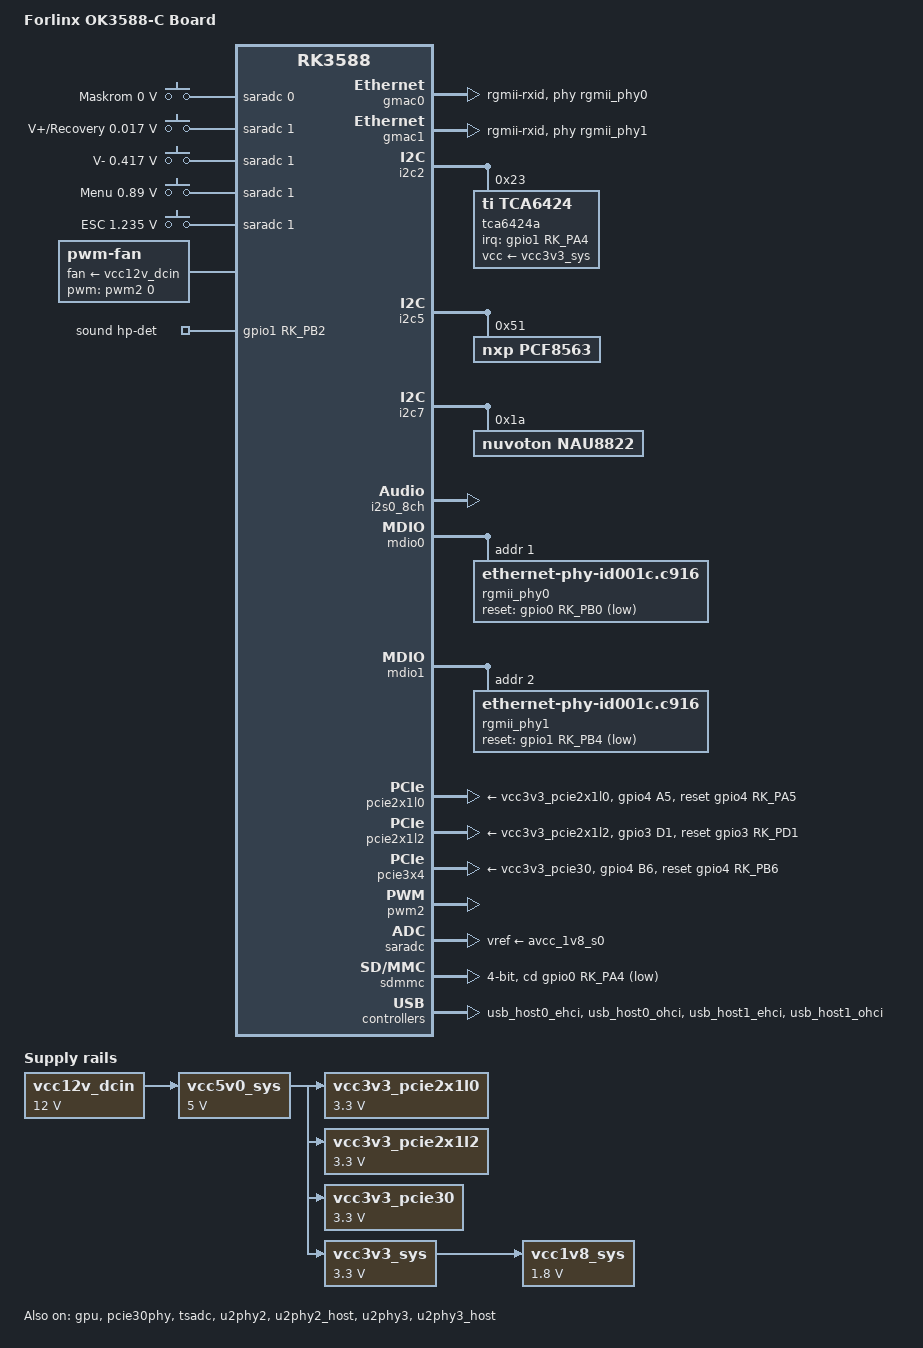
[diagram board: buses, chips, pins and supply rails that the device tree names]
// SPDX-License-Identifier: (GPL-2.0+ OR MIT)

/dts-v1/;
#include "rk3588-fet3588-c.dtsi"

/ {
	model = "Forlinx OK3588-C Board";
	compatible = "forlinx,ok3588-c", "forlinx,fet3588-c", "rockchip,rk3588";

	aliases {
		ethernet0 = &gmac0;
		ethernet1 = &gmac1;
		mmc1 = &sdmmc;
	};

	adc-keys-0 {
		compatible = "adc-keys";
		io-channels = <&saradc 0>;
		io-channel-names = "buttons";
		keyup-threshold-microvolt = <1800000>;
		poll-interval = <100>;

		button-maskrom {
			label = "Maskrom";
			linux,code = <KEY_SETUP>;
			press-threshold-microvolt = <400>;
		};
	};

	adc-keys-1 {
		compatible = "adc-keys";
		io-channels = <&saradc 1>;
		io-channel-names = "buttons";
		keyup-threshold-microvolt = <1800000>;
		poll-interval = <100>;

		button-volume-up {
			label = "V+/Recovery";
			linux,code = <KEY_VOLUMEUP>;
			press-threshold-microvolt = <17000>;
		};

		button-volume-down {
			label = "V-";
			linux,code = <KEY_VOLUMEDOWN>;
			press-threshold-microvolt = <417000>;
		};

		button-menu {
			label = "Menu";
			linux,code = <KEY_MENU>;
			press-threshold-microvolt = <890000>;
		};

		button-escape {
			label = "ESC";
			linux,code = <KEY_ESC>;
			press-threshold-microvolt = <1235000>;
		};
	};

	fan: pwm-fan {
		compatible = "pwm-fan";
		cooling-levels = <0 95 145 195 255>;
		fan-supply = <&vcc12v_dcin>;
		pwms = <&pwm2 0 50000 0>;
		#cooling-cells = <2>;
	};

	sound {
		compatible = "simple-audio-card";
		pinctrl-names = "default";
		pinctrl-0 = <&hp_detect>;
		simple-audio-card,name = "RK3588 OK3588-C Audio";
		simple-audio-card,bitclock-master = <&masterdai>;
		simple-audio-card,format = "i2s";
		simple-audio-card,frame-master = <&masterdai>;
		simple-audio-card,hp-det-gpios = <&gpio1 RK_PB2 GPIO_ACTIVE_HIGH>;
		simple-audio-card,mclk-fs = <256>;
		simple-audio-card,pin-switches = "Headphones", "Speaker";
		simple-audio-card,widgets =
			"Headphones", "Headphones",
			"Speaker", "Speaker",
			"Microphone", "Internal Microphone",
			"Microphone", "Headset Microphone";
		simple-audio-card,routing =
			"Headphones", "LHP",
			"Headphones", "RHP",
			"Speaker", "LSPK",
			"Speaker", "RSPK",
			"LMICP", "Headset Microphone",
			"RMICP", "Internal Microphone";

		simple-audio-card,cpu {
			sound-dai = <&i2s0_8ch>;
		};

		masterdai: simple-audio-card,codec {
			sound-dai = <&nau8822>;
		};
	};

	vcc12v_dcin: regulator-vcc12v-dcin {
		compatible = "regulator-fixed";
		regulator-name = "vcc12v_dcin";
		regulator-always-on;
		regulator-boot-on;
		regulator-min-microvolt = <12000000>;
		regulator-max-microvolt = <12000000>;
	};

	vcc1v8_sys: regulator-vcc1v8-sys {
		compatible = "regulator-fixed";
		regulator-name = "vcc1v8_sys";
		regulator-always-on;
		regulator-boot-on;
		regulator-min-microvolt = <1800000>;
		regulator-max-microvolt = <1800000>;
		vin-supply = <&vcc3v3_sys>;
	};

	vcc3v3_pcie2x1l0: regulator-vcc3v3-pcie2x1l0 {
		compatible = "regulator-fixed";
		regulator-name = "vcc3v3_pcie2x1l0";
		regulator-min-microvolt = <3300000>;
		regulator-max-microvolt = <3300000>;
		startup-delay-us = <50000>;
		vin-supply = <&vcc5v0_sys>;
	};

	vcc3v3_pcie2x1l2: regulator-vcc3v3-pcie2x1l2 {
		compatible = "regulator-fixed";
		regulator-name = "vcc3v3_pcie2x1l2";
		regulator-min-microvolt = <3300000>;
		regulator-max-microvolt = <3300000>;
		startup-delay-us = <5000>;
		vin-supply = <&vcc5v0_sys>;
	};

	vcc3v3_pcie30: regulator-vcc3v3_pcie30 {
		compatible = "regulator-fixed";
		regulator-name = "vcc3v3_pcie30";
		regulator-always-on;
		regulator-boot-on;
		regulator-min-microvolt = <3300000>;
		regulator-max-microvolt = <3300000>;
		vin-supply = <&vcc5v0_sys>;
	};

	vcc3v3_sys: regulator-vcc3v3-sys {
		compatible = "regulator-fixed";
		regulator-name = "vcc3v3_sys";
		regulator-always-on;
		regulator-boot-on;
		regulator-min-microvolt = <3300000>;
		regulator-max-microvolt = <3300000>;
		vin-supply = <&vcc5v0_sys>;
	};

	vcc5v0_sys: regulator-vcc5v0-sys {
		compatible = "regulator-fixed";
		regulator-name = "vcc5v0_sys";
		regulator-always-on;
		regulator-boot-on;
		regulator-min-microvolt = <5000000>;
		regulator-max-microvolt = <5000000>;
		vin-supply = <&vcc12v_dcin>;
	};
};

&gmac0 {
	clock_in_out = "output";
	phy-handle = <&rgmii_phy0>;
	phy-mode = "rgmii-rxid";
	pinctrl-names = "default";
	pinctrl-0 = <&gmac0_miim
		     &gmac0_tx_bus2
		     &gmac0_rx_bus2
		     &gmac0_rgmii_clk
		     &gmac0_rgmii_bus>;
	tx_delay = <0x44>;
	rx_delay = <0x00>;
	status = "okay";
};

&gmac1 {
	clock_in_out = "output";
	phy-handle = <&rgmii_phy1>;
	phy-mode = "rgmii-rxid";
	pinctrl-names = "default";
	pinctrl-0 = <&gmac1_miim
		     &gmac1_tx_bus2
		     &gmac1_rx_bus2
		     &gmac1_rgmii_clk
		     &gmac1_rgmii_bus>;
	tx_delay = <0x44>;
	rx_delay = <0x00>;
	status = "okay";
};

&gpu {
	mali-supply = <&vdd_gpu_s0>;
	status = "okay";
};

&i2c2 {
	status = "okay";

	tca6424a: gpio@23 {
		compatible = "ti,tca6424";
		reg = <0x23>;
		gpio-controller;
		#gpio-cells = <2>;

		interrupt-parent = <&gpio1>;
		interrupts = <RK_PA4 IRQ_TYPE_EDGE_FALLING>;
		interrupt-controller;
		#interrupt-cells = <2>;

		pinctrl-names = "default";
		pinctrl-0 = <&tca6424a_int>;
		vcc-supply = <&vcc3v3_sys>;
	};
};

&i2c5 {
	status = "okay";
	pinctrl-names = "default";
	pinctrl-0 = <&i2c5m2_xfer>;

	pcf8563: rtc@51 {
		compatible = "nxp,pcf8563";
		reg = <0x51>;
	};
};

&i2c7 {
	status = "okay";

	nau8822: audio-codec@1a {
		compatible = "nuvoton,nau8822";
		reg = <0x1a>;
		clocks = <&cru I2S0_8CH_MCLKOUT>;
		clock-names = "mclk";
		assigned-clocks = <&cru I2S0_8CH_MCLKOUT>;
		assigned-clock-rates = <12288000>;
		#sound-dai-cells = <0>;
	};
};

&i2s0_8ch {
	pinctrl-names = "default";
	pinctrl-0 = <&i2s0_lrck
		     &i2s0_mclk
		     &i2s0_sclk
		     &i2s0_sdi0
		     &i2s0_sdo0>;
	status = "okay";
};

&mdio0 {
	rgmii_phy0: ethernet-phy@1 {
		/* RTL8211F */
		compatible = "ethernet-phy-id001c.c916";
		reg = <0x1>;
		pinctrl-names = "default";
		pinctrl-0 = <&rtl8211f_0_rst>;
		reset-assert-us = <20000>;
		reset-deassert-us = <100000>;
		reset-gpios = <&gpio0 RK_PB0 GPIO_ACTIVE_LOW>;
	};
};

&mdio1 {
	rgmii_phy1: ethernet-phy@2 {
		/* RTL8211F */
		compatible = "ethernet-phy-id001c.c916";
		reg = <0x2>;
		pinctrl-names = "default";
		pinctrl-0 = <&rtl8211f_1_rst>;
		reset-assert-us = <20000>;
		reset-deassert-us = <100000>;
		reset-gpios = <&gpio1 RK_PB4 GPIO_ACTIVE_LOW>;
	};
};

&pcie2x1l0 {
	pinctrl-names = "default";
	pinctrl-0 = <&pcie2_0_rst>;
	reset-gpios = <&gpio4 RK_PA5 GPIO_ACTIVE_HIGH>;
	vpcie3v3-supply = <&vcc3v3_pcie2x1l0>;
	status = "okay";
};

&pcie2x1l2 {
	pinctrl-names = "default";
	pinctrl-0 = <&pcie2_2_rst>;
	reset-gpios = <&gpio3 RK_PD1 GPIO_ACTIVE_HIGH>;
	vpcie3v3-supply = <&vcc3v3_pcie2x1l2>;
	status = "okay";
};

&pcie30phy {
	status = "okay";
};

&pcie3x4 {
	pinctrl-names = "default";
	pinctrl-0 = <&pcie3_rst>;
	reset-gpios = <&gpio4 RK_PB6 GPIO_ACTIVE_HIGH>;
	vpcie3v3-supply = <&vcc3v3_pcie30>;
	status = "okay";
};

&pd_gpu {
	domain-supply = <&vdd_gpu_s0>;
};

&pinctrl {
	pcie2 {
		pcie2_0_rst: pcie2-0-rst {
			rockchip,pins = <4 RK_PA5 RK_FUNC_GPIO &pcfg_pull_none>;
		};

		pcie2_2_rst: pcie2-2-rst {
			rockchip,pins = <3 RK_PD1 RK_FUNC_GPIO &pcfg_pull_none>;
		};
	};

	pcie3 {
		pcie3_rst: pcie3-rst {
			rockchip,pins = <4 RK_PB6 RK_FUNC_GPIO &pcfg_pull_none>;
		};
	};

	rtl8211f {
		rtl8211f_0_rst: rtl8211f-0-rst {
			rockchip,pins = <0 RK_PB0 RK_FUNC_GPIO &pcfg_pull_none>;
		};
		rtl8211f_1_rst: rtl8211f-1-rst {
			rockchip,pins = <1 RK_PB4 RK_FUNC_GPIO &pcfg_pull_none>;
		};
	};

	sound {
		hp_detect: hp-detect {
			rockchip,pins = <1 RK_PB2 RK_FUNC_GPIO &pcfg_pull_none>;
		};
	};

	tca6424a {
		tca6424a_int: tca6424a-int {
			rockchip,pins = <1 RK_PA4 RK_FUNC_GPIO &pcfg_pull_up>;
		};
	};
};

&pwm2 {
	status = "okay";
};

&saradc {
	vref-supply = <&avcc_1v8_s0>;
	status = "okay";
};

&sdmmc {
	bus-width = <4>;
	cap-mmc-highspeed;
	cap-sd-highspeed;
	cd-gpios = <&gpio0 RK_PA4 GPIO_ACTIVE_LOW>;
	disable-wp;
	max-frequency = <150000000>;
	no-sdio;
	no-mmc;
	sd-uhs-sdr104;
	vqmmc-supply = <&vccio_sd_s0>;
	status = "okay";
};

&tsadc {
	status = "okay";
};

&u2phy2 {
	status = "okay";
};

&u2phy2_host {
	status = "okay";
};

&u2phy3 {
	status = "okay";
};

&u2phy3_host {
	status = "okay";
};

&usb_host0_ehci {
	status = "okay";
};

&usb_host0_ohci {
	status = "okay";
};

&usb_host1_ehci {
	status = "okay";
};

&usb_host1_ohci {
	status = "okay";
};
